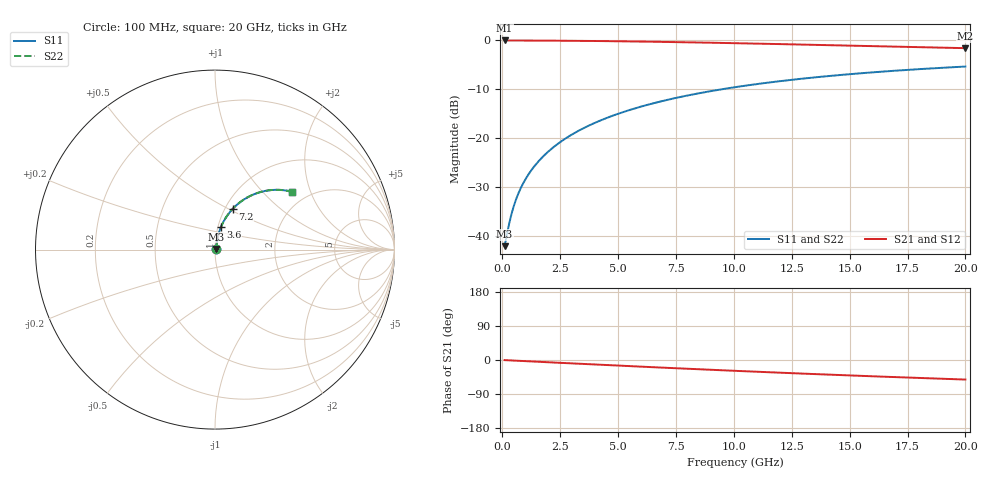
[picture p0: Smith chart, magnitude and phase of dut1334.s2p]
! Touchstone file exported from HFSS 2026.1.0
!  File:  C:/ffzhzh/LocalFiles/Ansys_Project_Files/temp_train_TMRDL_1334_1783165266_18472.aedt
!  Generated:  07:42:17 PM Jul  4, 2026
!  Design:  TMRDL
!  Project:  temp_train_TMRDL_1334_1783165266_18472
! Variables:
!  h_bsmrdl = 2um
!  h_ox = 20um
!  h_rdl = 5um
!  h_sub = 80um
!  h_tmrdl = 2.75um
!  h_tsv = 80um
!  h_via = 3um
!  l_bsmrdl = 300um
!  l_sub = 1122.23um
!  l_tmrdl = 722.23um
!  m_sub = 200um
!  pitch = 46.22um
!  r_tsv = 6um
!  s_tmrdl = 10um
!  w_bsmrdl = 18um
!  w_sub = 500um
!  w_tmrdl = 13.78um
!  x_tsv_center1 = 729.12um
!  x_tsv_center2 = 1047.12um
!  x_tsv_center3 = 1783.13um
!  x_tsv_center4 = 2101.13um
!  x_tsv_center5 = 2837.14um
!  x_tsv_center6 = 3155.14um
# GHz S MA R 50.000000
! Terminal data exported
! Port[1] = TM_RDL1_1_T1
! Port[2] = TM_RDL1_1_T2
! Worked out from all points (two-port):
!   200 points, 100 MHz to 20 GHz, reference 50 ohm
!   highest |S21| = -0.06 dB at 100 MHz (marker M1); lowest = -1.6 dB at 20 GHz (marker M2)
!   |S21| within 3 dB of the highest: start of sweep to end of sweep
!   lowest |S11| = -42.2 dB at 100 MHz (marker M3), VSWR 1.02, Z = 50.7 + j0.385 ohm
!   |S11| at or under -10 dB: start of sweep to 9.54 GHz
!   |S22| runs from -42.2 to -5.4 dB; largest |S21 - S12| = 3.2e-15
!   S11 on the Smith chart (normalised r, x): 100 MHz: 1.01, +0.01; 3.6 GHz: 1.03, +0.26; 7.2 GHz: 1.09, +0.53; 20 GHz: 1.66, +1.50
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0.1  0.007805 29.1  0.9932 -0.3  0.9932 -0.3  0.007805 29.1
! Gamma 0 0 0 0
! Port Impedance 50 0 50 0
0.3  0.0134 57.6  0.9929 -0.9  0.9929 -0.9  0.0134 57.6
0.4  0.01675 63.5  0.9927 -1.2  0.9927 -1.2  0.01675 63.5
0.5  0.0202 67.3  0.9925 -1.5  0.9925 -1.5  0.0202 67.3
0.6  0.02369 69.9  0.9923 -1.8  0.9923 -1.8  0.02369 69.9
0.7  0.02719 71.7  0.9921 -2.1  0.9921 -2.1  0.02719 71.7
0.9  0.03422 74.1  0.9917 -2.7  0.9917 -2.7  0.03421 74.1
1.2  0.04477 76.0  0.991 -3.6  0.991 -3.6  0.04477 76.0
1.7  0.06239 77.2  0.9898 -5.1  0.9898 -5.1  0.06239 77.2
2.2  0.08002 77.3  0.9883 -6.6  0.9883 -6.6  0.08002 77.3
2.8  0.1011 76.7  0.9862 -8.3  0.9862 -8.3  0.1011 76.7
3.5  0.1254 75.5  0.9831 -10.4  0.9831 -10.4  0.1254 75.5
3.6  0.1289 75.3  0.9826 -10.7  0.9826 -10.7  0.1289 75.3
4.3  0.1529 73.8  0.9789 -12.7  0.9789 -12.7  0.1529 73.8
5  0.1765 72.1  0.9746 -14.7  0.9746 -14.7  0.1765 72.1
6.8  0.2348 67.6  0.9615 -19.8  0.9615 -19.8  0.2348 67.6
7.2  0.2473 66.5  0.9581 -20.9  0.9581 -20.9  0.2473 66.6
8.6  0.2894 62.9  0.9457 -24.8  0.9457 -24.8  0.2894 63.0
10.1  0.3317 59.1  0.9311 -28.7  0.9311 -28.7  0.3317 59.2
13.4  0.414 51.1  0.8966 -37.0  0.8966 -37.0  0.414 51.2
16.7  0.4821 43.7  0.8615 -44.6  0.8615 -44.6  0.4821 43.7
20  0.5371 36.8  0.8285 -51.6  0.8285 -51.6  0.5371 36.9
